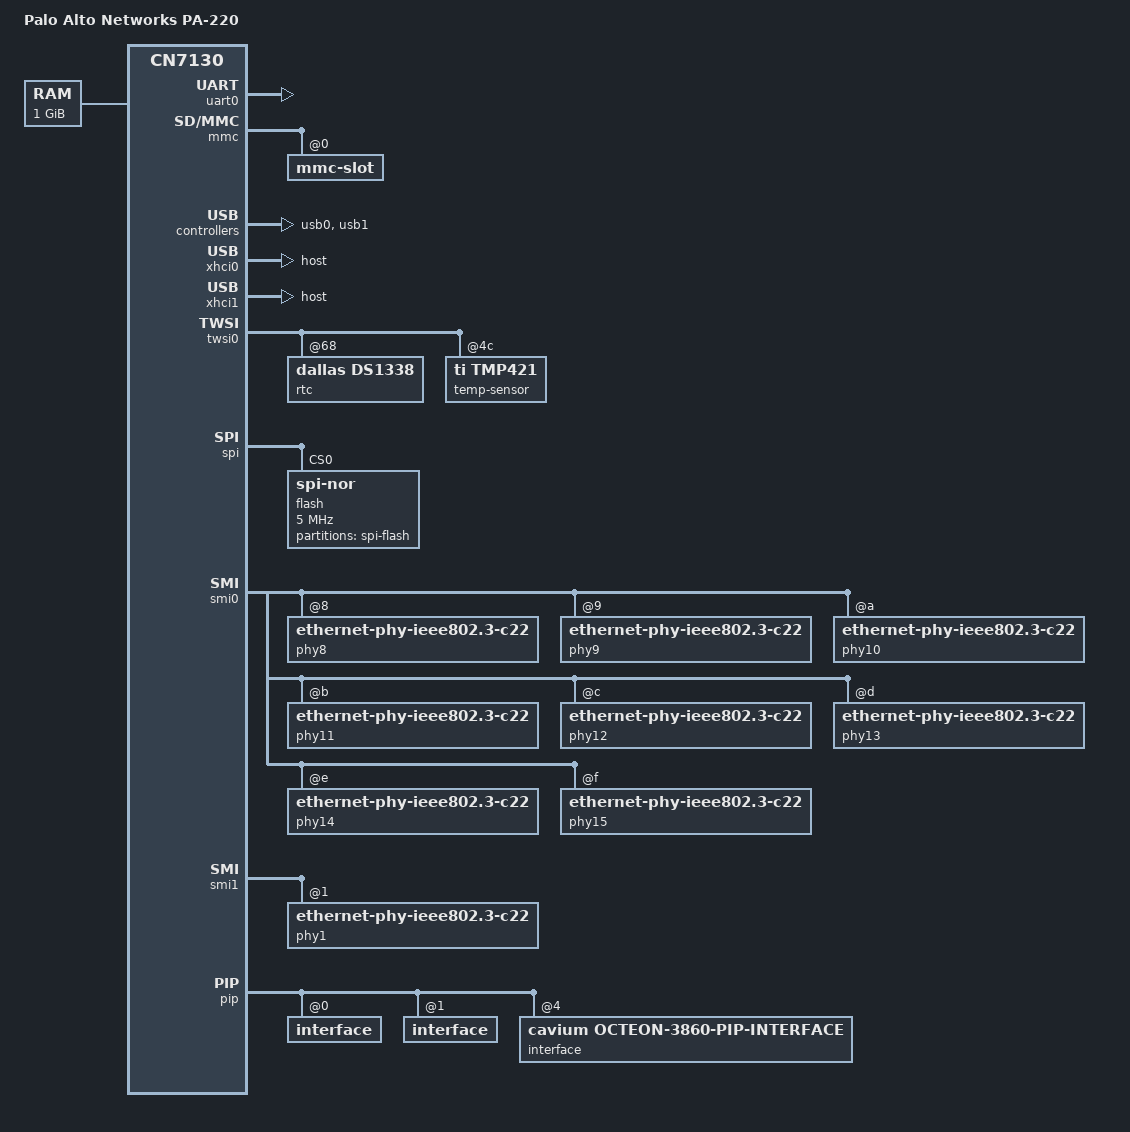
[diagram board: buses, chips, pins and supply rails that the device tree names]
// SPDX-License-Identifier: GPL-2.0-or-later OR MIT

#include "cn71xx.dtsi"

#include <dt-bindings/gpio/gpio.h>
#include <dt-bindings/leds/common.h>

/ {
	compatible = "paloaltonetworks,pa-220", "cavium,cn7130";
	model = "Palo Alto Networks PA-220";

	memory@0 {
		device_type = "memory";
		reg = <0x0 0x00000000>,
		      <0x0 0x10000000>,
		      <0x0 0x20000000>,
		      <0x0 0x30000000>;
	};

	aliases {
		led-boot = &led_stat_orange;
		led-failsafe = &led_stat_orange;
		led-running = &led_stat_green;
		led-upgrade = &led_stat_orange;
	};

	/*
	 * Board CPLD on the boot bus. Register 5 bit 2 is the 88E1680 reset
	 * (handled in the kernel board fixup). Register D holds the U-Boot
	 * select / CPLD watchdog: never write it. The front-panel status
	 * LEDs are one bit per colour in registers 7 and 6 (PWR is hardwired).
	 * Only the LED bits are touched (read-modify-write).
	 */
	cpld: cpld@1b040000 {
		compatible = "syscon", "simple-mfd";
		reg = <0x0 0x1b040000 0x0 0x10>;
		reg-io-width = <1>;

		led-ha-green {
			compatible = "register-bit-led";
			offset = <0x07>;
			mask = <0x01>;
			color = <LED_COLOR_ID_GREEN>;
			function = "ha";
		};

		led-ha-orange {
			compatible = "register-bit-led";
			offset = <0x07>;
			mask = <0x02>;
			color = <LED_COLOR_ID_ORANGE>;
			function = "ha";
		};

		led-alarm-green {
			compatible = "register-bit-led";
			offset = <0x07>;
			mask = <0x04>;
			color = <LED_COLOR_ID_GREEN>;
			function = LED_FUNCTION_ALARM;
		};

		led-alarm-red {
			compatible = "register-bit-led";
			offset = <0x07>;
			mask = <0x08>;
			color = <LED_COLOR_ID_RED>;
			function = LED_FUNCTION_ALARM;
			linux,default-trigger = "panic";
		};

		led_stat_green: led-status-green {
			compatible = "register-bit-led";
			offset = <0x07>;
			mask = <0x10>;
			color = <LED_COLOR_ID_GREEN>;
			function = LED_FUNCTION_STATUS;
		};

		led_stat_orange: led-status-orange {
			compatible = "register-bit-led";
			offset = <0x07>;
			mask = <0x20>;
			color = <LED_COLOR_ID_ORANGE>;
			function = LED_FUNCTION_STATUS;
			default-state = "on";
		};

		led-temp-green {
			compatible = "register-bit-led";
			offset = <0x06>;
			mask = <0x01>;
			color = <LED_COLOR_ID_GREEN>;
			function = "temp";
			default-state = "on";
		};

		led-temp-orange {
			compatible = "register-bit-led";
			offset = <0x06>;
			mask = <0x02>;
			color = <LED_COLOR_ID_ORANGE>;
			function = "temp";
		};
	};
};

/* PA-220 I/O clock is 500 MHz, not 400 MHz */
&uart0 {
	status = "okay";
	clock-frequency = <500000000>;
};

&mmc {
	status = "okay";

	mmc-slot@0 {
		compatible = "mmc-slot";
		reg = <0>;
		non-removable;
		/*
		 * Soldered eMMC: skip the SDIO and SD probes. The eMMC never answers
		 * them and each unanswered command waits for the 850 ms controller
		 * watchdog, which delayed the root device by ~9 s at boot.
		 */
		no-sdio;
		no-sd;
		max-frequency = <50000000>;
		/*
		 * DDR52 stalls under sustained reads on this board ("Bad status
		 * ... before command write"); run 50 MHz SDR like PanOS does.
		 */
		cavium,no-ddr;
		voltage-ranges = <3300 3300>;
		bus-width = <8>;
	};
};

&usb0 {
	status = "okay";
	power = <&gpio 2 GPIO_ACTIVE_HIGH>;
	refclk-type-ss = "dlmc_ref_clk0";
};

&xhci0 {
	status = "okay";
	dr_mode = "host";
};

&usb1 {
	status = "okay";
	power = <&gpio 3 GPIO_ACTIVE_HIGH>;
	refclk-type-ss = "dlmc_ref_clk0";
};

&xhci1 {
	status = "okay";
	dr_mode = "host";
};

&twsi0 {
	status = "okay";

	rtc@68 {
		compatible = "dallas,ds1338";
		reg = <0x68>;
	};

	/*
	 * TMP421 temperature sensor. Palo Alto's tree also lists 0x48-0x4b,
	 * but those are not fitted on the PA-220 (probe fails with -EIO/-ENXIO).
	 */
	temp-sensor@4c {
		compatible = "ti,tmp421";
		reg = <0x4c>;
	};
};

/* Whole SPI flash read-only, to protect the bootloader */
&spi {
	status = "okay";

	flash@0 {
		compatible = "jedec,spi-nor";
		reg = <0>;
		spi-max-frequency = <5000000>;

		partitions {
			compatible = "fixed-partitions";
			#address-cells = <1>;
			#size-cells = <1>;

			partition@0 {
				label = "spi-flash";
				reg = <0x0 0x1000000>;
				read-only;
			};
		};
	};
};

/*
 * Marvell 88E1680 octal PHY, addresses 8-15. Reset release and power-up
 * are done by the PA-220 board fixup in the kernel (950 patch).
 */

&smi0 {
	status = "okay";

	phy8: ethernet-phy@8 {
		compatible = "ethernet-phy-ieee802.3-c22";
		reg = <8>;
	};
	phy9: ethernet-phy@9 {
		compatible = "ethernet-phy-ieee802.3-c22";
		reg = <9>;
	};
	phy10: ethernet-phy@a {
		compatible = "ethernet-phy-ieee802.3-c22";
		reg = <10>;
	};
	phy11: ethernet-phy@b {
		compatible = "ethernet-phy-ieee802.3-c22";
		reg = <11>;
	};
	phy12: ethernet-phy@c {
		compatible = "ethernet-phy-ieee802.3-c22";
		reg = <12>;
	};
	phy13: ethernet-phy@d {
		compatible = "ethernet-phy-ieee802.3-c22";
		reg = <13>;
	};
	phy14: ethernet-phy@e {
		compatible = "ethernet-phy-ieee802.3-c22";
		reg = <14>;
	};
	phy15: ethernet-phy@f {
		compatible = "ethernet-phy-ieee802.3-c22";
		reg = <15>;
	};
};

/* MGT port: Marvell 88E1512 PHY at address 1 on MDIO bus 1 */
&smi1 {
	status = "okay";

	phy1: ethernet-phy@1 {
		compatible = "ethernet-phy-ieee802.3-c22";
		reg = <1>;
		/*
		 * Palo Alto's LED setting (page 3 reg 16 = 0x0040): LED0 on
		 * while linked, LED1 blinks on activity. Overrides the Linux
		 * Marvell driver's default (0x1177), which never blinks.
		 */
		marvell,reg-init = <3 0x10 0 0x0040>;
	};
};

&pip {
	status = "okay";

	interface@0 {
		status = "okay";

		ethernet@0 {
			label = "eth1";
			status = "okay";
			phy-mode = "sgmii";
			phy-handle = <&phy8>;
			local-mac-address = [00 00 00 00 00 00];
		};
		ethernet@1 {
			label = "eth2";
			status = "okay";
			phy-mode = "sgmii";
			phy-handle = <&phy9>;
			local-mac-address = [00 00 00 00 00 00];
		};
		ethernet@2 {
			label = "eth3";
			status = "okay";
			phy-mode = "sgmii";
			phy-handle = <&phy10>;
			local-mac-address = [00 00 00 00 00 00];
		};
		ethernet@3 {
			label = "eth4";
			status = "okay";
			phy-mode = "sgmii";
			phy-handle = <&phy11>;
			local-mac-address = [00 00 00 00 00 00];
		};
	};

	interface@1 {
		status = "okay";

		ethernet@0 {
			label = "eth5";
			status = "okay";
			phy-mode = "sgmii";
			phy-handle = <&phy12>;
			local-mac-address = [00 00 00 00 00 00];
		};
		ethernet@1 {
			label = "eth6";
			status = "okay";
			phy-mode = "sgmii";
			phy-handle = <&phy13>;
			local-mac-address = [00 00 00 00 00 00];
		};
		ethernet@2 {
			label = "eth7";
			status = "okay";
			phy-mode = "sgmii";
			phy-handle = <&phy14>;
			local-mac-address = [00 00 00 00 00 00];
		};
		ethernet@3 {
			label = "eth8";
			status = "okay";
			phy-mode = "sgmii";
			phy-handle = <&phy15>;
			local-mac-address = [00 00 00 00 00 00];
		};
	};

	/*
	 * MGT port: CN70XX AGL (RGMII) = interface 4. The 88E1512's own RGMII
	 * delays are off (as in Palo Alto's reg-init); the AGL DLL supplies
	 * the clock delay, so the PHY side is plain "rgmii".
	 */
	interface@4 {
		#address-cells = <1>;
		#size-cells = <0>;
		compatible = "cavium,octeon-3860-pip-interface";
		reg = <4>; /* Interface */
		status = "okay";

		ethernet@0 {
			compatible = "cavium,octeon-3860-pip-port";
			reg = <0>; /* Port */
			label = "mgt";
			status = "okay";
			phy-mode = "rgmii";
			phy-handle = <&phy1>;
			local-mac-address = [00 00 00 00 00 00];
		};
	};
};
